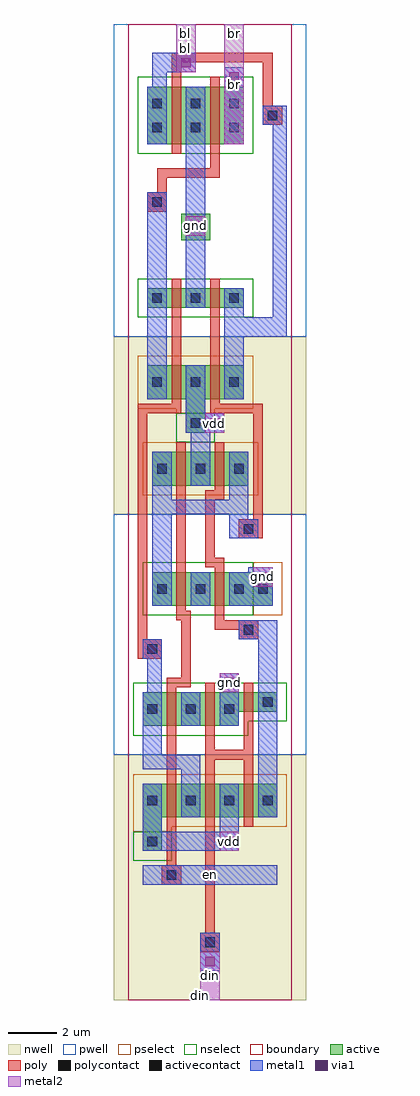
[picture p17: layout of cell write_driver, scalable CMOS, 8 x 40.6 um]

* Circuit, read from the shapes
.subckt write_driver bl br din en gnd vdd
M1 n1 en n2 gnd nfet w=1.4u l=0.4u
M2 gnd n2 n3 gnd nfet w=0.8u l=0.4u
M3 gnd n4 bl gnd nfet w=2.4u l=0.4u
M4 n5 en n6 gnd nfet w=1.4u l=0.4u
M5 gnd din n1 gnd nfet w=1.4u l=0.4u
M6 n4 n6 gnd gnd nfet w=0.8u l=0.4u
M7 br n3 gnd gnd nfet w=2.4u l=0.4u
M8 gnd n7 n5 gnd nfet w=1.4u l=0.4u
M9 n7 din gnd gnd nfet w=0.8u l=0.4u
M10 n2 en vdd vdd pfet w=1.4u l=0.4u
M11 vdd n2 n3 vdd pfet w=1.4u l=0.4u
M12 vdd en n6 vdd pfet w=1.4u l=0.4u
M13 vdd din n2 vdd pfet w=1.4u l=0.4u
M14 n4 n6 vdd vdd pfet w=1.4u l=0.4u
M15 n6 n7 vdd vdd pfet w=1.4u l=0.4u
M16 n7 din vdd vdd pfet w=1.4u l=0.4u
.ends

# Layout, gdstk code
import gdstk
lib = gdstk.Library(unit=1e-6, precision=1e-09)
def R(c, l, rs):  # rectangles x0, y0, x1, y1
    for r in rs: c.add(gdstk.rectangle(r[:2], r[2:], *l))
def A(c, l, x, y, w, h, nx, ny, dx, dy):  # array of equal rectangles
    R(c, l, [(x+i*dx, y+j*dy, x+i*dx+w, y+j*dy+h) for i in range(nx) for j in range(ny)])
def P(c, l, *ps):  # polygons
    for p in ps: c.add(gdstk.Polygon(p, *l))
pwell = (41, 0)
nwell = (42, 0)
active = (43, 0)
pselect = (44, 0)
nselect = (45, 0)
poly = (46, 0)
polycontact = (47, 0)
activecontact = (48, 0)
metal1 = (49, 0)
via1 = (50, 0)
metal2 = (51, 0)
boundary = (63, 0)

write_driver = lib.new_cell('write_driver')
R(write_driver, pwell, [(-0.6,10.2,7.4,20.2), (-0.6,27.6,7.4,40.6)])
R(write_driver, nwell, [(-0.6,0,7.4,10.2), (-0.6,20.2,7.4,27.6)])
R(write_driver, active, [(0.6,6.2,1.4,7.6), (0.6,7.6,6.2,9), (0.6,11.4,4.6,12), (0.6,12,6.2,12.8), (1,16.4,6,17.8), (1,21.4,5,22.8), (2.4,23.6,3.2,25), (0.8,25,4.8,26.4), (0.8,28.8,4.8,29.6), (2.2,31.6,3.4,32.7), (0.8,35.6,4.8,38)])
R(write_driver, pselect, [(0.2,7,1.8,7.2), (0.2,7.2,6.6,9.4), (5.2,16,6.4,18.2), (0.6,21,5.4,23.2), (2,24.4,3.6,24.6), (0.4,24.6,5.2,26.8), (2.2,31.6,3.4,32.7)])
R(write_driver, nselect, [(0.2,5.8,1.8,7), (0.2,11,5,11.6), (0.2,11.6,6.6,13.2), (0.6,16,5.2,18.2), (2,23.2,3.6,24.4), (0.4,28.4,5.2,30), (0.4,35.2,5.2,38.4)])
R(write_driver, poly, [(3,2,3.8,2.8), (3.2,2.8,3.6,10), (1.4,4.8,2.2,5.6), (1.6,5.6,2,13), (4.8,7.2,5.2,10), (3.2,10,5.2,10.4), (3.2,10.4,3.6,13.2), (4.8,10.4,5.2,13.2), (1.6,13,2.6,13.4), (2.2,13.4,2.6,15.8), (0.4,14.2,1.4,15), (0.4,15,0.8,24.4), (4.6,15,5.4,15.4), (3.6,15.4,5.4,15.8), (2,15.8,2.6,16.2), (3.6,15.8,4,18), (2,16.2,2.4,23.2), (3.2,18,4,18.4), (3.2,18.4,3.6,20.8), (4.6,19.2,5.6,20), (5.2,20,5.6,24.4), (3.2,20.8,4,21.2), (3.6,21.2,4,23.2), (0.4,24.4,2.2,24.8), (3.4,24.4,5.6,24.8), (1.8,24.8,2.2,30), (3.4,24.8,3.8,30), (0.8,32.8,1.6,33.6), (1.2,33.6,1.6,34.2), (1.2,34.2,3.8,34.6), (3.4,34.6,3.8,38.4), (1.8,35.2,2.2,39), (5.6,36.4,6.4,37.2), (5.6,37.2,6,39), (1.8,39,6,39.4)])
R(write_driver, polycontact, [(3.2,2.2,3.6,2.6), (1.6,5,2,5.4), (0.8,14.4,1.2,14.8), (4.8,15.2,5.2,15.6), (4.8,19.4,5.2,19.8), (1,33,1.4,33.4), (5.8,36.6,6.2,37)])
A(write_driver, activecontact, 0.8, 8.1, 0.4, 0.4, 4, 1, 1.6, 0)
A(write_driver, activecontact, 0.8, 11.9, 0.4, 0.4, 3, 1, 1.6, 0)
A(write_driver, activecontact, 1.2, 16.9, 0.4, 0.4, 3, 2, 1.6, 5)
A(write_driver, activecontact, 1, 25.5, 0.4, 0.4, 3, 2, 1.6, 3.5)
A(write_driver, activecontact, 1, 36.1, 0.4, 0.4, 3, 2, 1.6, 1)
R(write_driver, activecontact, [(0.8,6.4,1.2,6.8), (5.6,12.2,6,12.6), (5.4,16.9,5.8,17.3), (2.6,23.8,3,24.2), (2.6,32,3,32.4)])
R(write_driver, metal1, [(3,1.2,3.8,2.8), (0.6,4.8,6.2,5.6), (0.6,4.8,6.2,5.6), (0.6,6.2,4.6,7), (0.6,7,1.4,9), (3.8,7,4.6,9), (2.2,7.6,3,9.6), (5.4,7.6,6.2,15), (0.6,9.6,3,10.2), (0.6,10.2,1.4,12.8), (2.2,11.4,3,12.8), (3.8,11.4,4.6,13.6), (0.8,12.8,1.4,14.2), (0.6,14.2,1.4,15), (4.6,15,6.2,15.8), (1,16.4,1.8,20.2), (2.6,16.4,3.4,17.8), (4.2,16.4,6,17.8), (5,17.8,6,18), (4.2,19.2,5.4,20), (4.2,20,5,20.2), (1,20.2,5,20.8), (1,20.8,1.8,22.8), (4.2,20.8,5,22.8), (2.6,21.4,3.4,23.6), (2.4,23.6,4,24.4), (2.4,24.4,3.2,26.4), (0.8,25,1.6,33.6), (4,25,4.8,27.6), (4,27.6,6.6,28.4), (4,28.4,4.8,29.6), (6,28.4,6.6,36.4), (0.8,35.6,1.6,38), (4,35.6,4.8,38.8), (5.6,36.4,6.6,37.2), (1,38,1.6,38.6), (1,38.6,2.8,39.4)])
P(write_driver, metal1, [(2.4,28.8),(2.4,31.695),(2.4,38),(3.2,38),(3.2,28.8)])
R(write_driver, via1, [(3.2,1.4,3.6,1.8), (4,6.4,4.4,6.8), (4,13,4.4,13.4), (5.4,17.4,5.8,17.8), (3.4,23.8,3.8,24.2), (2.6,32,3,32.4), (4.2,38.2,4.6,38.6), (2.2,38.8,2.6,39.2)])
R(write_driver, metal2, [(3,0,3.8,2), (3,0,3.8,2), (3.8,6.2,4.6,7), (3.8,6.2,4.6,7), (3.8,12.8,4.6,13.6), (3.8,12.8,4.6,13.6), (5.2,17.2,6,18), (5.2,17.2,6,18), (3.2,23.6,4,24.4), (3.2,23.6,4,24.4), (2.4,31.8,3.2,32.6), (2.4,31.8,3.2,32.6), (4,35.6,4.8,40.6), (4,35.6,4.8,40.6), (2,38.6,2.8,40.6), (2,38.6,2.8,40.6)])
R(write_driver, boundary, [(0,0,6.8,40.6)])
write_driver.add(gdstk.Label('en', (3.4,5.2), layer=49, texttype=0))
write_driver.add(gdstk.Label('din', (3,0.2), layer=51, texttype=0))
write_driver.add(gdstk.Label('gnd', (4.2,13.2), layer=51, texttype=0))
write_driver.add(gdstk.Label('gnd', (5.6,17.6), layer=51, texttype=0))
write_driver.add(gdstk.Label('vdd', (4.2,6.6), layer=51, texttype=0))
write_driver.add(gdstk.Label('vdd', (3.6,24), layer=51, texttype=0))
write_driver.add(gdstk.Label('bl', (2.4,40.2), layer=51, texttype=0))
write_driver.add(gdstk.Label('br', (4.4,40.2), layer=51, texttype=0))
write_driver.add(gdstk.Label('gnd', (2.8,32.2), layer=51, texttype=0))
write_driver.add(gdstk.Label('din', (3.4,1), layer=51, texttype=0))
write_driver.add(gdstk.Label('bl', (2.4,39.6), layer=51, texttype=0))
write_driver.add(gdstk.Label('br', (4.4,38.1), layer=51, texttype=0))
write_driver.add(gdstk.Label('en', (3.4,5.2), layer=49, texttype=0))
write_driver.add(gdstk.Label('vdd', (4.2,6.6), layer=51, texttype=0))
write_driver.add(gdstk.Label('vdd', (3.6,24), layer=51, texttype=0))
write_driver.add(gdstk.Label('gnd', (4.2,13.2), layer=51, texttype=0))
write_driver.add(gdstk.Label('gnd', (5.6,17.6), layer=51, texttype=0))
write_driver.add(gdstk.Label('gnd', (2.8,32.2), layer=51, texttype=0))

lib.write_gds('write_driver.gds')
